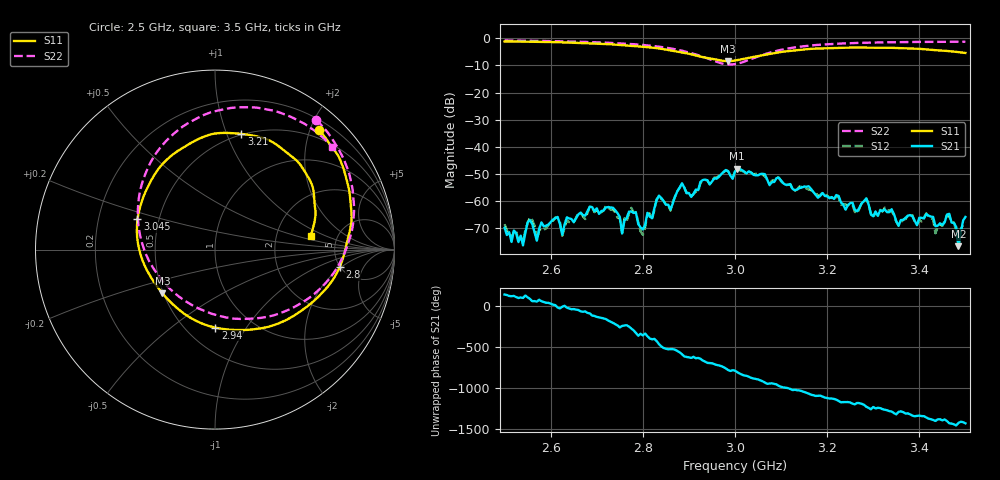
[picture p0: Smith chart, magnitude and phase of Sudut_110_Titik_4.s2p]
# Hz S RI R 50
! CMT, C1220, 16058040, 17.2.0/1
! Date: 15/08/2018 10:32:39
! Data: Format (Calibration Info)
! Freq  S11: Re/Im (F2)  S21: Re/Im (F2)  S12: Re/Im (F2)  S22: Re/Im (F2)
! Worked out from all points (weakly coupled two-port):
!   201 points, 2.5 GHz to 3.5 GHz, reference 50 ohm
!   highest |S21| = -48.04 dB at 3.005 GHz (marker M1); lowest = -76.7 dB at 3.485 GHz (marker M2)
!   lowest |S11| = -8.4 dB at 2.985 GHz (marker M3), VSWR 2.23, Z = 24.7 - j14.1 ohm
!   |S11| at or under -10 dB: nowhere
!   |S22| runs from -9.6 to -0.8 dB; largest |S21 - S12| = 0.00028
!   S11 on the Smith chart (normalised r, x): 2.5 GHz: 0.36, +2.15; 2.8 GHz: 4.95, -1.89; 2.94 GHz: 0.68, -0.73; 3.045 GHz: 0.38, +0.16; 3.21 GHz: 0.49, +1.13; 3.5 GHz: 3.17, +0.69
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2.5e9  0.5795 0.6647  -0.000244 0.000204  -0.00029 0.000232  0.5651 0.722
2.54e9  0.6285 0.6037  -2.24e-05 0.000149  -7.75e-05 0.000153  0.6103 0.6738
2.555e9  0.6433 0.5809  2.36e-05 0.000441  3.04e-05 0.000498  0.6266 0.6549
2.57e9  0.6634 0.5557  0.00011 0.000148  0.000119 0.000147  0.6421 0.6326
2.67e9  0.7457 0.3397  0.000193 -0.000513  9.24e-05 -0.000511  0.7379 0.4522
2.735e9  0.7596 0.1517  -0.000678 0.000322  -0.000613 0.000306  0.7704 0.2879
2.755e9  0.7456 0.0815  -0.000111 0.000223  -0.000138 0.000217  0.7746 0.2277
2.775e9  0.728 0.00974  5.83e-05 0.000635  5.91e-05 0.000742  0.7709 0.1603
2.8e9  0.6948 -0.0971  0.000298 1.09e-05  0.000234 3.5e-05  0.7537 0.0711
2.835e9  0.6124 -0.2246  -0.000335 -0.0012  -0.000267 -0.00118  0.7003 -0.0652
2.94e9  0.00153 -0.4346  0.00216 0.00105  0.00211 0.00113  0.1798 -0.3857
2.985e9  -0.2927 -0.2438  0.00168 -0.00311  0.00179 -0.00306  -0.1668 -0.2858
3e9  -0.3618 -0.146  0.00127 -0.00326  0.00109 -0.0033  -0.2667 -0.2033
3.005e9  -0.3812 -0.1114  0.000137 -0.00396  8.68e-05 -0.00387  -0.2956 -0.1701
3.045e9  -0.4318 0.1697  -0.00292 -0.000521  -0.0031 -0.000633  -0.4265 0.1348
3.17e9  -0.00552 0.6457  0.00144 -0.000231  0.00149 -7.5e-05  -0.0778 0.743
3.21e9  0.1464 0.6445  0.000758 -0.000898  0.000672 -0.000935  0.069 0.7857
3.335e9  0.4684 0.4817  -0.000567 0.000248  -0.0006 0.000289  0.4029 0.7478
3.435e9  0.5559 0.2419  0.00027 0.000209  0.000221 0.000122  0.5715 0.6487
3.465e9  0.5569 0.1696  0.000571 8.52e-05  0.000507 9.21e-05  0.611 0.6158
3.485e9  0.5455 0.1173  0.000142 3.46e-05  0.000149 3.58e-06  0.6345 0.5912
3.5e9  0.5335 0.0775  0.0005 7.23e-05  0.000399 7e-05  0.6514 0.5743
